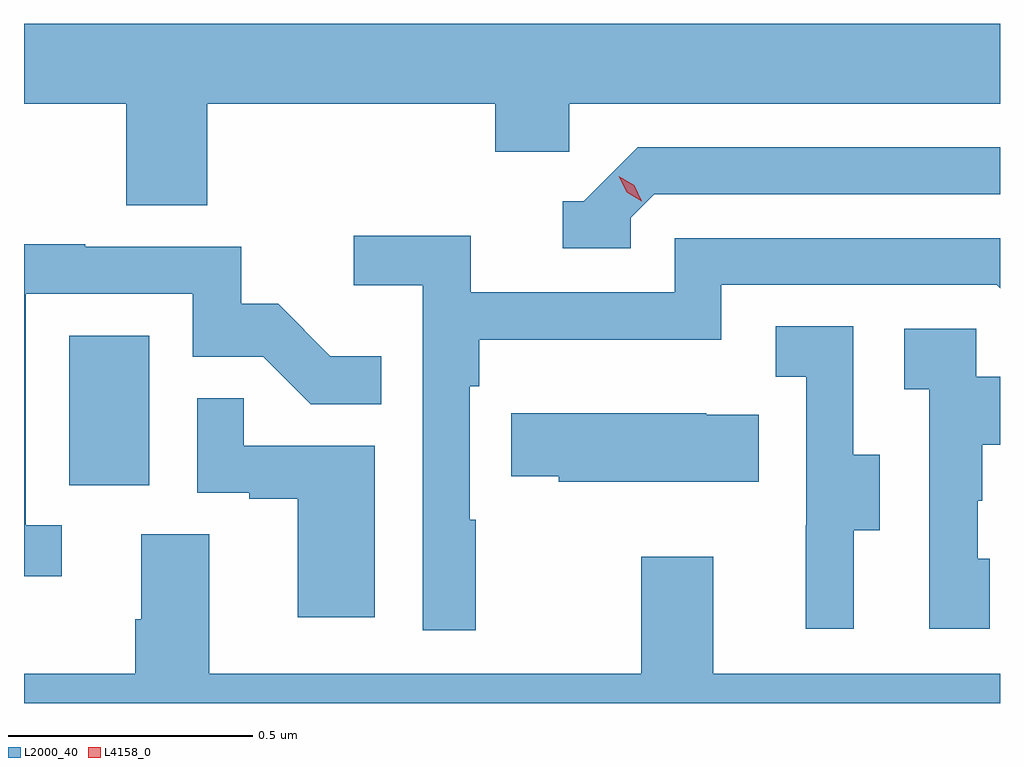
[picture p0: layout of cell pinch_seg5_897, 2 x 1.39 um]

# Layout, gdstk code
import gdstk
lib = gdstk.Library(unit=1e-6, precision=1e-09)
def R(c, l, rs):  # rectangles x0, y0, x1, y1
    for r in rs: c.add(gdstk.rectangle(r[:2], r[2:], *l))
def P(c, l, *ps):  # polygons
    for p in ps: c.add(gdstk.Polygon(p, *l))
L2000_40 = (2000, 40)
L4158_0 = (4158, 0)

pinch_seg5_897 = lib.new_cell('pinch_seg5_897')
R(pinch_seg5_897, L2000_40, [(831.098,891.942,831.262,892.249)])
P(pinch_seg5_897, L2000_40, [(831.38,892.724),(831.971,892.724),(831.971,892.626),(832.122,892.626),(832.122,892.724),(833.005,892.724),(833.005,892.888),(831.005,892.888),(831.005,892.724),(831.215,892.724),(831.215,892.516),(831.38,892.516)],
  [(832.248,892.491),(832.296,892.539),(833.005,892.539),(833.005,892.635),(832.263,892.635),(832.152,892.524),(832.109,892.524),(832.109,892.428),(832.248,892.428)],
  [(831.931,891.872),(831.918,891.872),(831.918,892.145),(831.938,892.145),(831.938,892.241),(832.434,892.241),(832.434,892.353),(832.998,892.353),(833.005,892.346),(833.005,892.449),(832.338,892.449),(832.338,892.338),(831.92,892.338),(831.92,892.454),(831.681,892.454),(831.681,892.352),(831.822,892.352),(831.822,891.645),(831.931,891.645)],
  [(831.082,891.861),(831.009,891.861),(831.009,892.335),(831.351,892.335),(831.351,892.206),(831.495,892.206),(831.593,892.108),(831.737,892.108),(831.737,892.207),(831.633,892.207),(831.526,892.314),(831.45,892.314),(831.45,892.431),(831.131,892.431),(831.131,892.436),(831.005,892.436),(831.005,891.756),(831.082,891.756)],
  [(832.705,891.85),(832.759,891.85),(832.759,892.005),(832.704,892.005),(832.704,892.268),(832.545,892.268),(832.545,892.165),(832.608,892.165),(832.608,891.861),(832.607,891.861),(832.607,891.648),(832.705,891.648)],
  [(832.984,891.792),(832.959,891.792),(832.959,891.911),(832.969,891.911),(832.969,892.025),(833.005,892.025),(833.005,892.165),(832.956,892.165),(832.956,892.263),(832.809,892.263),(832.809,892.139),(832.86,892.139),(832.86,891.648),(832.984,891.648)],
  [(831.724,892.023),(831.455,892.023),(831.455,892.121),(831.36,892.121),(831.36,891.927),(831.467,891.927),(831.467,891.915),(831.566,891.915),(831.566,891.672),(831.724,891.672)],
  [(832.511,892.087),(832.403,892.087),(832.403,892.09),(832.003,892.09),(832.003,891.961),(832.101,891.961),(832.101,891.95),(832.511,891.95)],
  [(833.005,891.556),(832.417,891.556),(832.417,891.796),(832.27,891.796),(832.27,891.556),(831.385,891.556),(831.385,891.842),(831.245,891.842),(831.245,891.668),(831.233,891.668),(831.233,891.556),(831.005,891.556),(831.005,891.496),(833.005,891.496)])
P(pinch_seg5_897, L4158_0, [(832.271,892.524),(832.24,892.543),(832.224,892.576),(832.224,892.576),(832.224,892.576),(832.255,892.557),(832.271,892.524),(832.271,892.524)])

lib.write_gds('pinch_seg5_897.gds')
